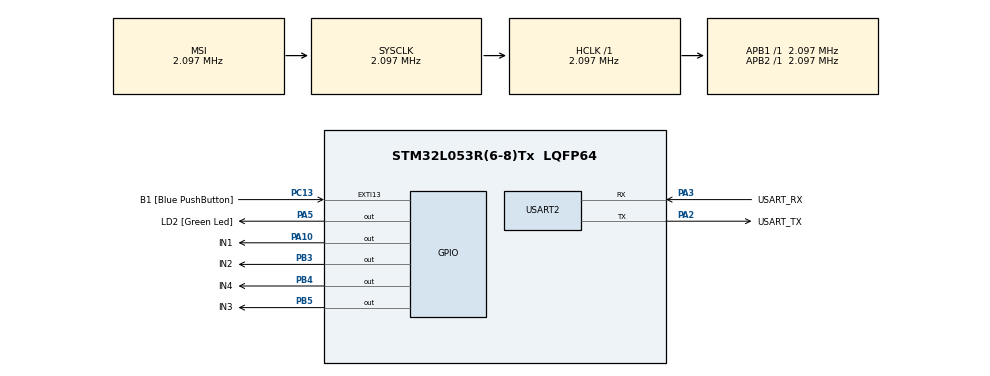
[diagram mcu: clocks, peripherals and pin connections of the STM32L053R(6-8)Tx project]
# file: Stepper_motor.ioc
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Mcu.Family=STM32L0
Mcu.Name=STM32L053R(6-8)Tx
Mcu.Package=LQFP64
PA10.GPIO_Label=IN1
PA10.Signal=GPIO_Output
PA13.GPIO_Label=TMS
PA13.Mode=Serial_Wire
PA13.Signal=SYS_SWDIO
PA14.GPIO_Label=TCK
PA14.Mode=Serial_Wire
PA14.Signal=SYS_SWCLK
PA2.GPIO_Label=USART_TX
PA2.Mode=Asynchronous
PA2.Signal=USART2_TX
PA3.GPIO_Label=USART_RX
PA3.Mode=Asynchronous
PA3.Signal=USART2_RX
PA5.GPIO_Label=LD2 [Green Led]
PA5.Signal=GPIO_Output
PB3.GPIO_Label=IN2
PB3.Signal=GPIO_Output
PB4.GPIO_Label=IN4
PB4.Signal=GPIO_Output
PB5.GPIO_Label=IN3
PB5.Signal=GPIO_Output
PC13.GPIO_Label=B1 [Blue PushButton]
PC13.GPIO_ModeDefaultEXTI=GPIO_MODE_IT_FALLING
PC13.Signal=GPXTI13
PC14-OSC32_IN.Mode=LSE-External-Oscillator
PC14-OSC32_IN.Signal=RCC_OSC32_IN
PC15-OSC32_OUT.Mode=LSE-External-Oscillator
PC15-OSC32_OUT.Signal=RCC_OSC32_OUT
PH0-OSC_IN.Mode=HSE-External-Clock-Source
PH0-OSC_IN.Signal=RCC_OSC_IN
PH1-OSC_OUT.Signal=RCC_OSC_OUT
ProjectManager.HeapSize=0x200
ProjectManager.StackSize=0x400
ProjectManager.TargetToolchain=MDK-ARM V5.32
RCC.AHBFreq_Value=2097000
RCC.APB1Freq_Value=2097000
RCC.APB1TimFreq_Value=2097000
RCC.APB2Freq_Value=2097000
RCC.APB2TimFreq_Value=2097000
RCC.HSE_VALUE=8000000
RCC.HSI16_VALUE=16000000
RCC.HSI48_VALUE=48000000
RCC.HSI_VALUE=16000000
RCC.MSI_VALUE=2097000
RCC.SYSCLKFreq_VALUE=2097000
RCC.VCOOutputFreq_Value=48000000
USART2.VirtualMode-Asynchronous=VM_ASYNC
board=NUCLEO-L053R8

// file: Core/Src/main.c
/* USER CODE BEGIN Header */
/**
  ******************************************************************************
  * @file           : main.c
  * @brief          : Main program body
  ******************************************************************************
  * @attention
  *
  * Copyright (c) 2022 STMicroelectronics.
  * All rights reserved.
  *
  * This software is licensed under terms that can be found in the LICENSE file
  * in the root directory of this software component.
  * If no LICENSE file comes with this software, it is provided AS-IS.
  *
  ******************************************************************************
  */
/* USER CODE END Header */
#include "main.h"

UART_HandleTypeDef huart2;

void SystemClock_Config(void);
static void MX_GPIO_Init(void);
static void MX_USART2_UART_Init(void);

int main(void)
{

  /* MCU Configuration--------------------------------------------------------*/

  /* Reset of all peripherals, Initializes the Flash interface and the Systick. */
  HAL_Init();

  /* Configure the system clock */
  SystemClock_Config();

  /* Initialize all configured peripherals */
  MX_GPIO_Init();
  MX_USART2_UART_Init();

  /* Infinite loop */
  /* USER CODE BEGIN WHILE */
  while (1)
  {
		for(uint32_t i = 0; i<(1024/4); i++){

		HAL_GPIO_WritePin(GPIOA, GPIO_PIN_10, GPIO_PIN_SET);     //IN1
		HAL_GPIO_WritePin(GPIOB, GPIO_PIN_3, GPIO_PIN_RESET);    //IN2
		HAL_GPIO_WritePin(GPIOB, GPIO_PIN_5, GPIO_PIN_RESET);    //IN3
		HAL_GPIO_WritePin(GPIOB, GPIO_PIN_4, GPIO_PIN_RESET);		 //IN4
		HAL_Delay(5);

		HAL_GPIO_WritePin(GPIOA, GPIO_PIN_10, GPIO_PIN_RESET);   //IN1
		HAL_GPIO_WritePin(GPIOB, GPIO_PIN_3, GPIO_PIN_SET);      //IN2
		HAL_GPIO_WritePin(GPIOB, GPIO_PIN_5, GPIO_PIN_RESET);    //IN3
		HAL_GPIO_WritePin(GPIOB, GPIO_PIN_4, GPIO_PIN_RESET);		 //IN4
		HAL_Delay(5);

		HAL_GPIO_WritePin(GPIOA, GPIO_PIN_10, GPIO_PIN_RESET);   //IN1
		HAL_GPIO_WritePin(GPIOB, GPIO_PIN_3, GPIO_PIN_RESET);    //IN2
		HAL_GPIO_WritePin(GPIOB, GPIO_PIN_5, GPIO_PIN_SET);      //IN3
		HAL_GPIO_WritePin(GPIOB, GPIO_PIN_4, GPIO_PIN_RESET);		 //IN4
		HAL_Delay(5);

		HAL_GPIO_WritePin(GPIOA, GPIO_PIN_10, GPIO_PIN_RESET);   //IN1
		HAL_GPIO_WritePin(GPIOB, GPIO_PIN_3, GPIO_PIN_RESET);    //IN2
		HAL_GPIO_WritePin(GPIOB, GPIO_PIN_5, GPIO_PIN_RESET);    //IN3
		HAL_GPIO_WritePin(GPIOB, GPIO_PIN_4, GPIO_PIN_SET);		   //IN4
		HAL_Delay(5);

		}

		HAL_Delay(2000);

		for(uint32_t i = 0; i<(1024/4); i++){

		HAL_GPIO_WritePin(GPIOA, GPIO_PIN_10, GPIO_PIN_RESET);   //IN1
		HAL_GPIO_WritePin(GPIOB, GPIO_PIN_3, GPIO_PIN_RESET);    //IN2
		HAL_GPIO_WritePin(GPIOB, GPIO_PIN_5, GPIO_PIN_RESET);    //IN3
		HAL_GPIO_WritePin(GPIOB, GPIO_PIN_4, GPIO_PIN_SET);		   //IN4
		HAL_Delay(5);

		HAL_GPIO_WritePin(GPIOA, GPIO_PIN_10, GPIO_PIN_RESET);   //IN1
		HAL_GPIO_WritePin(GPIOB, GPIO_PIN_3, GPIO_PIN_RESET);    //IN2
		HAL_GPIO_WritePin(GPIOB, GPIO_PIN_5, GPIO_PIN_SET);      //IN3
		HAL_GPIO_WritePin(GPIOB, GPIO_PIN_4, GPIO_PIN_RESET);		 //IN4
		HAL_Delay(5);

		HAL_GPIO_WritePin(GPIOA, GPIO_PIN_10, GPIO_PIN_RESET);   //IN1
		HAL_GPIO_WritePin(GPIOB, GPIO_PIN_3, GPIO_PIN_SET);      //IN2
		HAL_GPIO_WritePin(GPIOB, GPIO_PIN_5, GPIO_PIN_RESET);    //IN3
		HAL_GPIO_WritePin(GPIOB, GPIO_PIN_4, GPIO_PIN_RESET);		 //IN4
		HAL_Delay(5);

		HAL_GPIO_WritePin(GPIOA, GPIO_PIN_10, GPIO_PIN_SET);     //IN1
		HAL_GPIO_WritePin(GPIOB, GPIO_PIN_3, GPIO_PIN_RESET);    //IN2
		HAL_GPIO_WritePin(GPIOB, GPIO_PIN_5, GPIO_PIN_RESET);    //IN3
		HAL_GPIO_WritePin(GPIOB, GPIO_PIN_4, GPIO_PIN_RESET);		 //IN4
		HAL_Delay(5);

		}

		HAL_Delay(2000);

    /* USER CODE END WHILE */

  }
}

void SystemClock_Config(void)
{
  RCC_OscInitTypeDef RCC_OscInitStruct = {0};
  RCC_ClkInitTypeDef RCC_ClkInitStruct = {0};
  RCC_PeriphCLKInitTypeDef PeriphClkInit = {0};

  /** Configure the main internal regulator output voltage
  */
  __HAL_PWR_VOLTAGESCALING_CONFIG(PWR_REGULATOR_VOLTAGE_SCALE1);

  /** Initializes the RCC Oscillators according to the specified parameters
  * in the RCC_OscInitTypeDef structure.
  */
  RCC_OscInitStruct.OscillatorType = RCC_OSCILLATORTYPE_MSI;
  RCC_OscInitStruct.MSIState = RCC_MSI_ON;
  RCC_OscInitStruct.MSICalibrationValue = 0;
  RCC_OscInitStruct.MSIClockRange = RCC_MSIRANGE_5;
  RCC_OscInitStruct.PLL.PLLState = RCC_PLL_NONE;
  if (HAL_RCC_OscConfig(&RCC_OscInitStruct) != HAL_OK)
  {
    Error_Handler();
  }

  /** Initializes the CPU, AHB and APB buses clocks
  */
  RCC_ClkInitStruct.ClockType = RCC_CLOCKTYPE_HCLK|RCC_CLOCKTYPE_SYSCLK
                              |RCC_CLOCKTYPE_PCLK1|RCC_CLOCKTYPE_PCLK2;
  RCC_ClkInitStruct.SYSCLKSource = RCC_SYSCLKSOURCE_MSI;
  RCC_ClkInitStruct.AHBCLKDivider = RCC_SYSCLK_DIV1;
  RCC_ClkInitStruct.APB1CLKDivider = RCC_HCLK_DIV1;
  RCC_ClkInitStruct.APB2CLKDivider = RCC_HCLK_DIV1;

  if (HAL_RCC_ClockConfig(&RCC_ClkInitStruct, FLASH_LATENCY_0) != HAL_OK)
  {
    Error_Handler();
  }
  PeriphClkInit.PeriphClockSelection = RCC_PERIPHCLK_USART2;
  PeriphClkInit.Usart2ClockSelection = RCC_USART2CLKSOURCE_PCLK1;
  if (HAL_RCCEx_PeriphCLKConfig(&PeriphClkInit) != HAL_OK)
  {
    Error_Handler();
  }
}

static void MX_USART2_UART_Init(void)
{

  huart2.Instance = USART2;
  huart2.Init.BaudRate = 115200;
  huart2.Init.WordLength = UART_WORDLENGTH_8B;
  huart2.Init.StopBits = UART_STOPBITS_1;
  huart2.Init.Parity = UART_PARITY_NONE;
  huart2.Init.Mode = UART_MODE_TX_RX;
  huart2.Init.HwFlowCtl = UART_HWCONTROL_NONE;
  huart2.Init.OverSampling = UART_OVERSAMPLING_16;
  huart2.Init.OneBitSampling = UART_ONE_BIT_SAMPLE_DISABLE;
  huart2.AdvancedInit.AdvFeatureInit = UART_ADVFEATURE_NO_INIT;
  if (HAL_UART_Init(&huart2) != HAL_OK)
  {
    Error_Handler();
  }

}

static void MX_GPIO_Init(void)
{
  GPIO_InitTypeDef GPIO_InitStruct = {0};

  /* GPIO Ports Clock Enable */
  __HAL_RCC_GPIOC_CLK_ENABLE();
  __HAL_RCC_GPIOH_CLK_ENABLE();
  __HAL_RCC_GPIOA_CLK_ENABLE();
  __HAL_RCC_GPIOB_CLK_ENABLE();

  /*Configure GPIO pin Output Level */
  HAL_GPIO_WritePin(GPIOA, GPIO_PIN_5|GPIO_PIN_10, GPIO_PIN_RESET);

  /*Configure GPIO pin Output Level */
  HAL_GPIO_WritePin(GPIOB, GPIO_PIN_3|GPIO_PIN_4|GPIO_PIN_5, GPIO_PIN_RESET);

  /*Configure GPIO pin : PC13 */
  GPIO_InitStruct.Pin = GPIO_PIN_13;
  GPIO_InitStruct.Mode = GPIO_MODE_IT_FALLING;
  GPIO_InitStruct.Pull = GPIO_NOPULL;
  HAL_GPIO_Init(GPIOC, &GPIO_InitStruct);

  /*Configure GPIO pins : PA5 PA10 */
  GPIO_InitStruct.Pin = GPIO_PIN_5|GPIO_PIN_10;
  GPIO_InitStruct.Mode = GPIO_MODE_OUTPUT_PP;
  GPIO_InitStruct.Pull = GPIO_NOPULL;
  GPIO_InitStruct.Speed = GPIO_SPEED_FREQ_LOW;
  HAL_GPIO_Init(GPIOA, &GPIO_InitStruct);

  /*Configure GPIO pins : PB3 PB4 PB5 */
  GPIO_InitStruct.Pin = GPIO_PIN_3|GPIO_PIN_4|GPIO_PIN_5;
  GPIO_InitStruct.Mode = GPIO_MODE_OUTPUT_PP;
  GPIO_InitStruct.Pull = GPIO_NOPULL;
  GPIO_InitStruct.Speed = GPIO_SPEED_FREQ_LOW;
  HAL_GPIO_Init(GPIOB, &GPIO_InitStruct);

}

void Error_Handler(void)
{
  __disable_irq();
  while (1)
  {
  }
}
